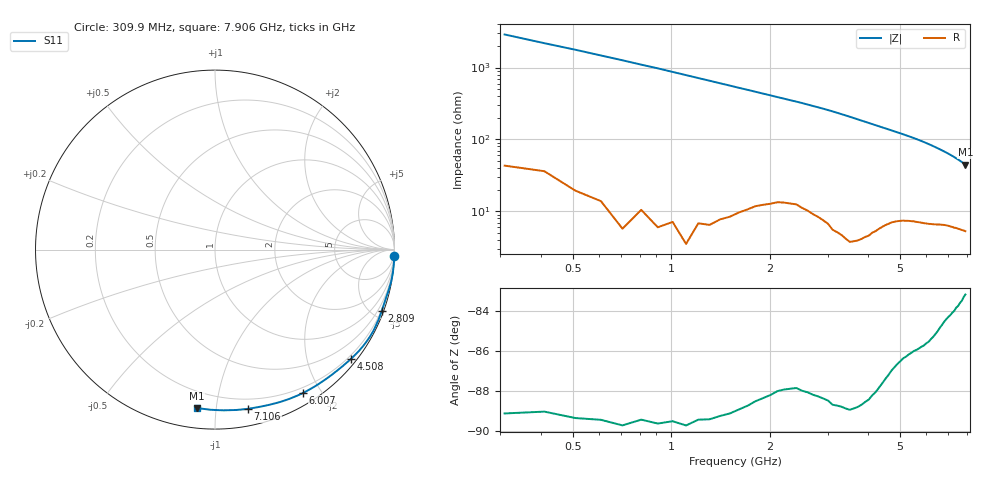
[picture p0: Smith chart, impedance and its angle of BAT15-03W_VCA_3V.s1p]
! Infineon Technologies  Discrete & RF Semiconductors
! BAT15-03W-E6327
! VCA = 3 V
! One-Port S-Parameters
# Hz  S  MA  R  50
!f  S11
!Hz  Mag  Ang
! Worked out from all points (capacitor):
!   77 points, 309.9 MHz to 7.906 GHz, reference 50 ohm
!   read as one part to ground: C = 178 fF near 309.9 MHz
!   lowest |Z| = 44.6 ohm at 7.906 GHz (marker M1)
!   S11 on the Smith chart (normalised r, x): 309.9 MHz: 1, -58; 2.809 GHz: 0.17, -5.59; 4.508 GHz: 0.13, -2.85; 6.007 GHz: 0.14, -1.78; 7.106 GHz: 0.12, -1.22; 7.906 GHz: 0.11, -0.89
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3.0985e8  0.9995 -2.0
9.0955e8  0.9994 -5.9
1.30935e9  0.9985 -8.7
1.70915e9  0.9956 -11.6
2.2089e9  0.9905 -15.4
2.50875e9  0.9895 -17.7
2.8086e9  0.9897 -20.3
3.10845e9  0.9912 -23.0
3.2084e9  0.9911 -24.0
3.50825e9  0.9917 -27.2
3.70815e9  0.9899 -29.4
4.10795e9  0.9829 -34.0
4.50775e9  0.9721 -38.7
4.70765e9  0.966 -41.0
5.10745e9  0.9555 -45.9
5.4073e9  0.9493 -49.8
5.6072e9  0.9454 -52.5
5.8071e9  0.9413 -55.4
6.007e9  0.9369 -58.5
6.2069e9  0.9318 -61.8
6.4068e9  0.926 -65.2
6.70665e9  0.9164 -70.6
7.0065e9  0.9079 -76.3
7.10645e9  0.9057 -78.3
7.30635e9  0.9013 -82.5
7.50625e9  0.8967 -87.0
7.70615e9  0.8925 -91.6
7.90605e9  0.8882 -96.5
